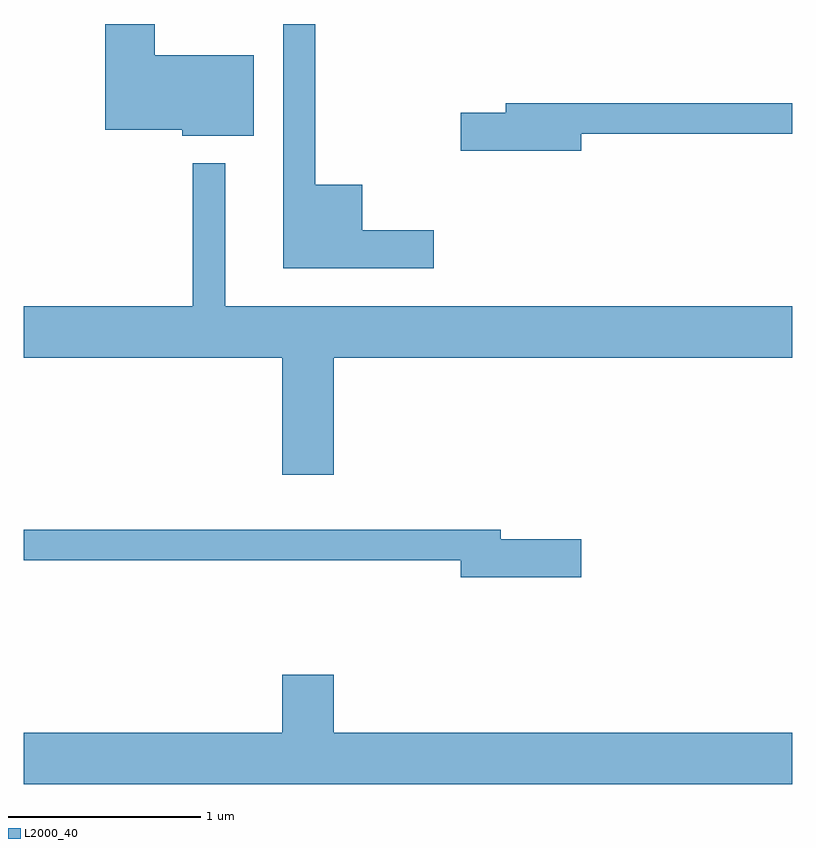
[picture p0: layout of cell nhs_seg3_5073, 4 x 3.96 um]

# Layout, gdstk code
import gdstk
lib = gdstk.Library(unit=1e-6, precision=1e-09)
def P(c, l, *ps):  # polygons
    for p in ps: c.add(gdstk.Polygon(p, *l))
L2000_40 = (2000, 40)

nhs_seg3_5073 = lib.new_cell('nhs_seg3_5073')
P(nhs_seg3_5073, L2000_40, [(335.744,1208.819),(335.374,1208.819),(335.374,1209.054),(335.129,1209.054),(335.129,1209.892),(334.961,1209.892),(334.961,1208.621),(335.744,1208.621)],
  [(334.809,1209.729),(334.294,1209.729),(334.294,1209.892),(334.036,1209.892),(334.036,1209.341),(334.436,1209.341),(334.436,1209.311),(334.809,1209.311)],
  [(336.514,1209.321),(337.611,1209.321),(337.611,1209.479),(336.121,1209.479),(336.121,1209.429),(335.886,1209.429),(335.886,1209.231),(336.514,1209.231)],
  [(335.224,1208.156),(337.611,1208.156),(337.611,1208.424),(334.659,1208.424),(334.659,1209.168),(334.491,1209.168),(334.491,1208.424),(333.611,1208.424),(333.611,1208.156),(334.956,1208.156),(334.956,1207.546),(335.224,1207.546)],
  [(336.514,1207.209),(336.094,1207.209),(336.094,1207.259),(333.611,1207.259),(333.611,1207.101),(335.886,1207.101),(335.886,1207.011),(336.514,1207.011)],
  [(337.611,1206.204),(335.224,1206.204),(335.224,1206.504),(334.956,1206.504),(334.956,1206.204),(333.611,1206.204),(333.611,1205.936),(337.611,1205.936)])

lib.write_gds('nhs_seg3_5073.gds')
